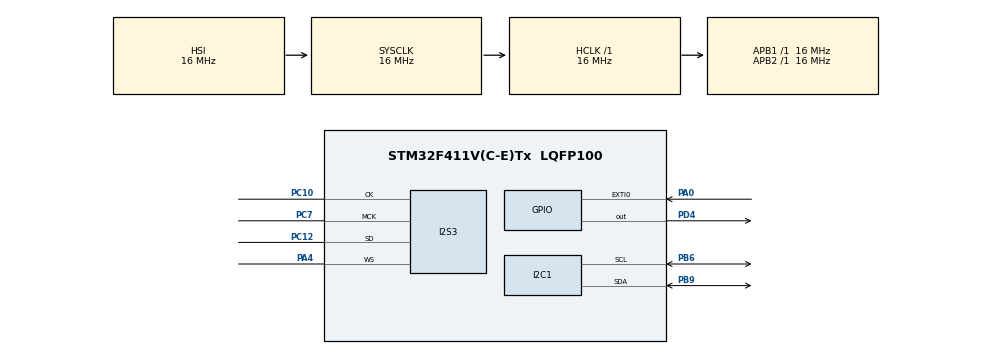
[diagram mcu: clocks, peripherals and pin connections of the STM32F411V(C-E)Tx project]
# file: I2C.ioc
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Dma.Request0=SPI3_TX
Dma.SPI3_TX.0.Direction=DMA_MEMORY_TO_PERIPH
Dma.SPI3_TX.0.FIFOMode=DMA_FIFOMODE_ENABLE
Dma.SPI3_TX.0.FIFOThreshold=DMA_FIFO_THRESHOLD_FULL
Dma.SPI3_TX.0.Instance=DMA1_Stream5
Dma.SPI3_TX.0.MemBurst=DMA_MBURST_SINGLE
Dma.SPI3_TX.0.MemDataAlignment=DMA_MDATAALIGN_HALFWORD
Dma.SPI3_TX.0.MemInc=DMA_MINC_ENABLE
Dma.SPI3_TX.0.Mode=DMA_CIRCULAR
Dma.SPI3_TX.0.PeriphBurst=DMA_PBURST_SINGLE
Dma.SPI3_TX.0.PeriphDataAlignment=DMA_PDATAALIGN_HALFWORD
Dma.SPI3_TX.0.PeriphInc=DMA_PINC_DISABLE
Dma.SPI3_TX.0.Priority=DMA_PRIORITY_LOW
I2S3.AudioFreq=I2S_AUDIOFREQ_48K
I2S3.ErrorAudioFreq=-2.34 %
I2S3.FullDuplexMode=I2S_FULLDUPLEXMODE_DISABLE
I2S3.Instance=SPI$Index
I2S3.RealAudioFreq=46.875 KHz
I2S3.VirtualMode=I2S_MODE_MASTER
Mcu.Family=STM32F4
Mcu.Name=STM32F411V(C-E)Tx
Mcu.Package=LQFP100
NVIC.DMA1_Stream5_IRQn=true\:0\:0\:false\:false\:true\:false\:true\:true
NVIC.EXTI0_IRQn=true\:0\:0\:false\:false\:true\:true\:true\:true
NVIC.PriorityGroup=NVIC_PRIORITYGROUP_4
PA0-WKUP.Signal=GPXTI0
PA4.Mode=Half_Duplex_Master
PA4.Signal=I2S3_WS
PB6.Mode=I2C
PB6.Signal=I2C1_SCL
PB9.Mode=I2C
PB9.Signal=I2C1_SDA
PC10.Mode=Half_Duplex_Master
PC10.Signal=I2S3_CK
PC12.Mode=Half_Duplex_Master
PC12.Signal=I2S3_SD
PC7.Mode=Master_Clock_Activated
PC7.Signal=I2S3_MCK
PD4.Signal=GPIO_Output
ProjectManager.HeapSize=0x200
ProjectManager.StackSize=0x400
ProjectManager.TargetToolchain=STM32CubeIDE
RCC.AHBFreq_Value=16000000
RCC.APB1Freq_Value=16000000
RCC.APB2Freq_Value=16000000
RCC.CortexFreq_Value=16000000
RCC.HSE_VALUE=25000000
RCC.HSI_VALUE=16000000
RCC.LSE_VALUE=32768
RCC.SYSCLKFreq_VALUE=16000000
RCC.VCOOutputFreq_Value=192000000
board=custom

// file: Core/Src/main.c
/* USER CODE BEGIN Header */
/**
  ******************************************************************************
  * @file           : main.c
  * @brief          : Main program body
  ******************************************************************************
  * @attention
  *
  * Copyright (c) 2023 STMicroelectronics.
  * All rights reserved.
  *
  * This software is licensed under terms that can be found in the LICENSE file
  * in the root directory of this software component.
  * If no LICENSE file comes with this software, it is provided AS-IS.
  *
  ******************************************************************************
  */
/* USER CODE END Header */
#include "main.h"

/* USER CODE BEGIN PTD */
typedef enum {
	C4,
	C5,
	D5,
	E5,
	F5,
	G5,
	A5,
	B5,
	C6,
	D6,
	E6,
	F6,
	G6,
	A6,
	B6,
	C7
} Notes;

/* USER CODE END PTD */

/* USER CODE BEGIN PD */

#define CS43L22_I2C_ADDRESS 	0x94
#define I2C_TIMEOUT 			10

/* USER CODE END PD */

I2C_HandleTypeDef hi2c1;

I2S_HandleTypeDef hi2s3;
DMA_HandleTypeDef hdma_spi3_tx;

/* USER CODE BEGIN PV */

//основний трек
int16_t dataI2S[100] = {0};

unsigned int isMyMelody = 1;

/* USER CODE END PV */

void SystemClock_Config(void);
static void MX_GPIO_Init(void);
static void MX_DMA_Init(void);
static void MX_I2C1_Init(void);
static void MX_I2S3_Init(void);

/* USER CODE BEGIN 0 */

void CS43L22_Init(void) {

	  HAL_GPIO_WritePin(GPIOD, GPIO_PIN_4, GPIO_PIN_SET);

	  uint8_t TxBuffer[2];

	  TxBuffer[0] = 0x0D;
	  TxBuffer[1] = 0x01;
	  HAL_I2C_Master_Transmit(&hi2c1, CS43L22_I2C_ADDRESS, (uint8_t*) &TxBuffer, 2, I2C_TIMEOUT);

	  TxBuffer[0] = 0x00;
	  TxBuffer[1] = 0x99;
	  HAL_I2C_Master_Transmit(&hi2c1, CS43L22_I2C_ADDRESS, (uint8_t*) &TxBuffer, 2, I2C_TIMEOUT);

	  TxBuffer[0] = 0x47;
	  TxBuffer[1] = 0x80;
	  HAL_I2C_Master_Transmit(&hi2c1, CS43L22_I2C_ADDRESS, (uint8_t*) &TxBuffer, 2, I2C_TIMEOUT);

	  TxBuffer[0] = 0x32;
	  TxBuffer[1] = 0xFF;
	  HAL_I2C_Master_Transmit(&hi2c1, CS43L22_I2C_ADDRESS, (uint8_t*) &TxBuffer, 2, I2C_TIMEOUT);

	  TxBuffer[0] = 0x32;
	  TxBuffer[1] = 0x7F;
	  HAL_I2C_Master_Transmit(&hi2c1, CS43L22_I2C_ADDRESS, (uint8_t*) &TxBuffer, 2, I2C_TIMEOUT);

	  TxBuffer[0] = 0x00;
	  TxBuffer[1] = 0x00;
	  HAL_I2C_Master_Transmit(&hi2c1, CS43L22_I2C_ADDRESS, (uint8_t*) &TxBuffer, 2, I2C_TIMEOUT);

	  TxBuffer[0] = 0x04;
	  TxBuffer[1] = 0xAF;
	  HAL_I2C_Master_Transmit(&hi2c1, CS43L22_I2C_ADDRESS, (uint8_t*) &TxBuffer, 2, I2C_TIMEOUT);

	  //
	  TxBuffer[0] = 0x00;
	  TxBuffer[1] = 0x70;
	  HAL_I2C_Master_Transmit(&hi2c1, CS43L22_I2C_ADDRESS, (uint8_t*) &TxBuffer, 2, I2C_TIMEOUT);

	  TxBuffer[0] = 0x05;
	  TxBuffer[1] = 0x81;
	  HAL_I2C_Master_Transmit(&hi2c1, CS43L22_I2C_ADDRESS, (uint8_t*) &TxBuffer, 2, I2C_TIMEOUT);

	  TxBuffer[0] = 0x06;
	  TxBuffer[1] = 0x07;
	  HAL_I2C_Master_Transmit(&hi2c1, CS43L22_I2C_ADDRESS, (uint8_t*) &TxBuffer, 2, I2C_TIMEOUT);

	  TxBuffer[0] = 0x0A;
	  TxBuffer[1] = 0x00;
	  HAL_I2C_Master_Transmit(&hi2c1, CS43L22_I2C_ADDRESS, (uint8_t*) &TxBuffer, 2, I2C_TIMEOUT);

	  TxBuffer[0] = 0x27;
	  TxBuffer[1] = 0x00;
	  HAL_I2C_Master_Transmit(&hi2c1, CS43L22_I2C_ADDRESS, (uint8_t*) &TxBuffer, 2, I2C_TIMEOUT);

	  TxBuffer[0] = 0x1A;
	  TxBuffer[1] = 0x0A;
	  HAL_I2C_Master_Transmit(&hi2c1, CS43L22_I2C_ADDRESS, (uint8_t*) &TxBuffer, 2, I2C_TIMEOUT);

	  TxBuffer[0] = 0x1B;
	  TxBuffer[1] = 0x0A;
	  HAL_I2C_Master_Transmit(&hi2c1, CS43L22_I2C_ADDRESS, (uint8_t*) &TxBuffer, 2, I2C_TIMEOUT);

	  TxBuffer[0] = 0x1F;
	  TxBuffer[1] = 0x0F;
	  HAL_I2C_Master_Transmit(&hi2c1, CS43L22_I2C_ADDRESS, (uint8_t*) &TxBuffer, 2, I2C_TIMEOUT);

	  TxBuffer[0] = 0x02;
	  TxBuffer[1] = 0x9E;
	  HAL_I2C_Master_Transmit(&hi2c1, CS43L22_I2C_ADDRESS, (uint8_t*) &TxBuffer, 2, I2C_TIMEOUT);

}

void CS43L22_Beep(Notes note, uint32_t duration_ms) {
	uint8_t TxBuffer[2];

	TxBuffer[0] = 0x1D;
	TxBuffer[1] = 0x00;
	HAL_I2C_Master_Transmit(&hi2c1, CS43L22_I2C_ADDRESS, (uint8_t*) &TxBuffer, 2, I2C_TIMEOUT);

	TxBuffer[0] = 0x1C;
	switch(note) {
		case C4:
			TxBuffer[1] = 0x00;
			break;
		case C5:
			TxBuffer[1] = 0x10;
			break;
		case D5:
			TxBuffer[1] = 0x20;
			break;
		case E5:
			TxBuffer[1] = 0x30;
			break;
		case F5:
			TxBuffer[1] = 0x40;
			break;
		case G5:
			TxBuffer[1] = 0x50;
			break;
		case A5:
			TxBuffer[1] = 0x60;
			break;
		case B5:
			TxBuffer[1] = 0x70;
			break;
		case C6:
			TxBuffer[1] = 0x80;
			break;
		case D6:
			TxBuffer[1] = 0x90;
			break;
		case E6:
			TxBuffer[1] = 0xA0;
			break;
		case F6:
			TxBuffer[1] = 0xB0;
			break;
		case G6:
			TxBuffer[1] = 0xC0;
			break;
		case A6:
			TxBuffer[1] = 0xD0;
			break;
		case B6:
			TxBuffer[1] = 0xE0;
			break;
		case C7:
			TxBuffer[1] = 0xF0;
			break;
		default:
			TxBuffer[1] = 0x00;
			break;
	}
	HAL_I2C_Master_Transmit(&hi2c1, CS43L22_I2C_ADDRESS, (uint8_t*) &TxBuffer, 2, I2C_TIMEOUT);

	TxBuffer[0] = 0x1E;
	TxBuffer[1] = 0xC0;
	HAL_I2C_Master_Transmit(&hi2c1, CS43L22_I2C_ADDRESS, (uint8_t*) &TxBuffer, 2, I2C_TIMEOUT);

	HAL_Delay(duration_ms);

	TxBuffer[0] = 0x1E;
	TxBuffer[1] = 0x00;
	HAL_I2C_Master_Transmit(&hi2c1, CS43L22_I2C_ADDRESS, (uint8_t*) &TxBuffer, 2, I2C_TIMEOUT);
}

/* USER CODE END 0 */

int main(void)
{

  /* MCU Configuration--------------------------------------------------------*/

  /* Reset of all peripherals, Initializes the Flash interface and the Systick. */
  HAL_Init();

  /* Configure the system clock */
  SystemClock_Config();

  /* Initialize all configured peripherals */
  MX_GPIO_Init();
  MX_DMA_Init();
  MX_I2C1_Init();
  MX_I2S3_Init();
  /* USER CODE BEGIN 2 */

  CS43L22_Init();

  HAL_I2S_Transmit_DMA(&hi2s3, (uint16_t *)dataI2S, 100);

  void allNotes(void) {
	  Notes note;

	  for (note = C4; note <= C7; note++) {
		  CS43L22_Beep(note, 200);
		  HAL_Delay(200);
	  }
  }

  void melody() {
	  void mainTopic() {
		  //затакт
		  CS43L22_Beep(B5, 400);
		  HAL_Delay(100);
		  CS43L22_Beep(E5, 400);
		  HAL_Delay(200);

		  CS43L22_Beep(E5, 200);
		  HAL_Delay(100);
		  CS43L22_Beep(F5, 200);
		  HAL_Delay(100);
		  CS43L22_Beep(G5, 200);
		  HAL_Delay(100);
		  CS43L22_Beep(E5, 180);
		  HAL_Delay(100);
		  CS43L22_Beep(B5, 400);
		  HAL_Delay(100);
		  CS43L22_Beep(B5, 200);
		  HAL_Delay(100);
		  CS43L22_Beep(A5, 200);
		  HAL_Delay(100);
	  }

	  void firstEnding() {
		  CS43L22_Beep(B5, 200);
		  HAL_Delay(100);
		  CS43L22_Beep(D6, 200);
		  HAL_Delay(100);
		  CS43L22_Beep(C6, 200);
		  HAL_Delay(100);
		  CS43L22_Beep(A5, 200);
		  HAL_Delay(100);
	  }

	  void secondEnding() {
		  CS43L22_Beep(B5, 200);
		  HAL_Delay(100);
		  CS43L22_Beep(G5, 200);
		  HAL_Delay(100);
		  CS43L22_Beep(A5, 200);
		  HAL_Delay(100);
		  CS43L22_Beep(D5, 200);
		  HAL_Delay(100);
	  }

	  void final(){
		  CS43L22_Beep(B5, 400);
		  HAL_Delay(100);
		  CS43L22_Beep(E5, 400);
		  HAL_Delay(200);

		  CS43L22_Beep(E5, 200);
		  HAL_Delay(100);
		  CS43L22_Beep(F5, 200);
		  HAL_Delay(100);
		  CS43L22_Beep(G5, 200);
		  HAL_Delay(100);
		  CS43L22_Beep(E5, 200);
		  HAL_Delay(100);

		  CS43L22_Beep(B5, 200);
		  HAL_Delay(100);
		  CS43L22_Beep(A5, 200);
		  HAL_Delay(100);
		  CS43L22_Beep(G5, 200);
		  HAL_Delay(100);
		  CS43L22_Beep(A5, 200);
		  HAL_Delay(100);

		  CS43L22_Beep(B5, 200);
		  HAL_Delay(100);
		  CS43L22_Beep(D6, 200);
		  HAL_Delay(100);
		  CS43L22_Beep(E6, 200);
		  HAL_Delay(500);
	  }

	  mainTopic();

	  firstEnding();

	  mainTopic();

	  secondEnding();

	  mainTopic();

	  firstEnding();

	  final();
  }

  /* USER CODE END 2 */

  /* Infinite loop */
  /* USER CODE BEGIN WHILE */
  while (1)
  {
	  if (isMyMelody == 1) {
		  melody();
	  } else {
		  allNotes();
	  }
    /* USER CODE END WHILE */

  }
}

void SystemClock_Config(void)
{
  RCC_OscInitTypeDef RCC_OscInitStruct = {0};
  RCC_ClkInitTypeDef RCC_ClkInitStruct = {0};

  /** Macro to configure the PLL multiplication factor
  */
  __HAL_RCC_PLL_PLLM_CONFIG(16);

  /** Macro to configure the PLL clock source
  */
  __HAL_RCC_PLL_PLLSOURCE_CONFIG(RCC_PLLSOURCE_HSI);

  /** Configure the main internal regulator output voltage
  */
  __HAL_RCC_PWR_CLK_ENABLE();
  __HAL_PWR_VOLTAGESCALING_CONFIG(PWR_REGULATOR_VOLTAGE_SCALE1);

  /** Initializes the RCC Oscillators according to the specified parameters
  * in the RCC_OscInitTypeDef structure.
  */
  RCC_OscInitStruct.OscillatorType = RCC_OSCILLATORTYPE_HSI;
  RCC_OscInitStruct.HSIState = RCC_HSI_ON;
  RCC_OscInitStruct.HSICalibrationValue = RCC_HSICALIBRATION_DEFAULT;
  RCC_OscInitStruct.PLL.PLLState = RCC_PLL_NONE;
  RCC_OscInitStruct.PLL.PLLSource = RCC_PLLSOURCE_HSI;
  if (HAL_RCC_OscConfig(&RCC_OscInitStruct) != HAL_OK)
  {
    Error_Handler();
  }

  /** Initializes the CPU, AHB and APB buses clocks
  */
  RCC_ClkInitStruct.ClockType = RCC_CLOCKTYPE_HCLK|RCC_CLOCKTYPE_SYSCLK
                              |RCC_CLOCKTYPE_PCLK1|RCC_CLOCKTYPE_PCLK2;
  RCC_ClkInitStruct.SYSCLKSource = RCC_SYSCLKSOURCE_HSI;
  RCC_ClkInitStruct.AHBCLKDivider = RCC_SYSCLK_DIV1;
  RCC_ClkInitStruct.APB1CLKDivider = RCC_HCLK_DIV1;
  RCC_ClkInitStruct.APB2CLKDivider = RCC_HCLK_DIV1;

  if (HAL_RCC_ClockConfig(&RCC_ClkInitStruct, FLASH_LATENCY_0) != HAL_OK)
  {
    Error_Handler();
  }
}

static void MX_I2C1_Init(void)
{

  hi2c1.Instance = I2C1;
  hi2c1.Init.ClockSpeed = 100000;
  hi2c1.Init.DutyCycle = I2C_DUTYCYCLE_2;
  hi2c1.Init.OwnAddress1 = 0;
  hi2c1.Init.AddressingMode = I2C_ADDRESSINGMODE_7BIT;
  hi2c1.Init.DualAddressMode = I2C_DUALADDRESS_DISABLE;
  hi2c1.Init.OwnAddress2 = 0;
  hi2c1.Init.GeneralCallMode = I2C_GENERALCALL_DISABLE;
  hi2c1.Init.NoStretchMode = I2C_NOSTRETCH_DISABLE;
  if (HAL_I2C_Init(&hi2c1) != HAL_OK)
  {
    Error_Handler();
  }

}

static void MX_I2S3_Init(void)
{

  hi2s3.Instance = SPI3;
  hi2s3.Init.Mode = I2S_MODE_MASTER_TX;
  hi2s3.Init.Standard = I2S_STANDARD_PHILIPS;
  hi2s3.Init.DataFormat = I2S_DATAFORMAT_16B;
  hi2s3.Init.MCLKOutput = I2S_MCLKOUTPUT_ENABLE;
  hi2s3.Init.AudioFreq = I2S_AUDIOFREQ_48K;
  hi2s3.Init.CPOL = I2S_CPOL_LOW;
  hi2s3.Init.ClockSource = I2S_CLOCK_PLL;
  hi2s3.Init.FullDuplexMode = I2S_FULLDUPLEXMODE_DISABLE;
  if (HAL_I2S_Init(&hi2s3) != HAL_OK)
  {
    Error_Handler();
  }

}

static void MX_DMA_Init(void)
{

  /* DMA controller clock enable */
  __HAL_RCC_DMA1_CLK_ENABLE();

  /* DMA interrupt init */
  /* DMA1_Stream5_IRQn interrupt configuration */
  HAL_NVIC_SetPriority(DMA1_Stream5_IRQn, 0, 0);
  HAL_NVIC_EnableIRQ(DMA1_Stream5_IRQn);

}

static void MX_GPIO_Init(void)
{
  GPIO_InitTypeDef GPIO_InitStruct = {0};

  /* GPIO Ports Clock Enable */
  __HAL_RCC_GPIOA_CLK_ENABLE();
  __HAL_RCC_GPIOC_CLK_ENABLE();
  __HAL_RCC_GPIOD_CLK_ENABLE();
  __HAL_RCC_GPIOB_CLK_ENABLE();

  /*Configure GPIO pin Output Level */
  HAL_GPIO_WritePin(GPIOD, GPIO_PIN_4, GPIO_PIN_RESET);

  /*Configure GPIO pin : PA0 */
  GPIO_InitStruct.Pin = GPIO_PIN_0;
  GPIO_InitStruct.Mode = GPIO_MODE_IT_RISING;
  GPIO_InitStruct.Pull = GPIO_NOPULL;
  HAL_GPIO_Init(GPIOA, &GPIO_InitStruct);

  /*Configure GPIO pin : PD4 */
  GPIO_InitStruct.Pin = GPIO_PIN_4;
  GPIO_InitStruct.Mode = GPIO_MODE_OUTPUT_PP;
  GPIO_InitStruct.Pull = GPIO_NOPULL;
  GPIO_InitStruct.Speed = GPIO_SPEED_FREQ_LOW;
  HAL_GPIO_Init(GPIOD, &GPIO_InitStruct);

  /* EXTI interrupt init*/
  HAL_NVIC_SetPriority(EXTI0_IRQn, 0, 0);
  HAL_NVIC_EnableIRQ(EXTI0_IRQn);

}

void Error_Handler(void)
{
  __disable_irq();
  while (1)
  {
  }
}
